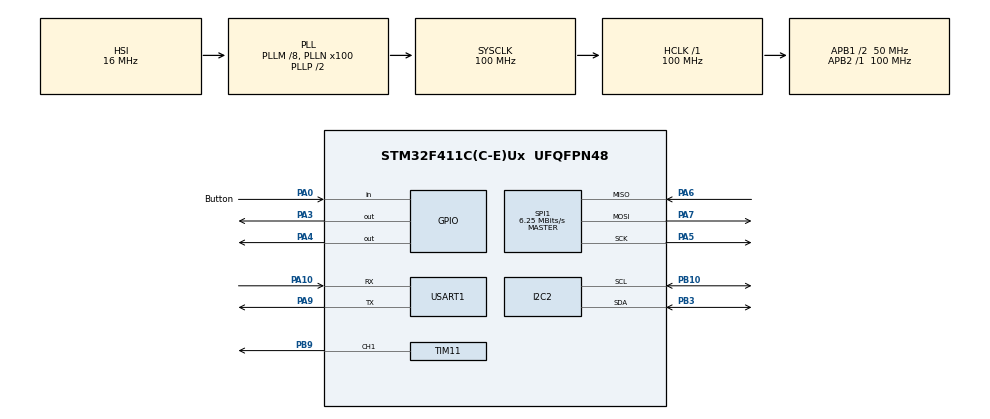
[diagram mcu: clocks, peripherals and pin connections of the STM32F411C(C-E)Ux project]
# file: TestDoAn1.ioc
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Mcu.Family=STM32F4
Mcu.Name=STM32F411C(C-E)Ux
Mcu.Package=UFQFPN48
NVIC.PriorityGroup=NVIC_PRIORITYGROUP_4
NVIC.USART1_IRQn=true\:0\:0\:false\:false\:true\:true\:true\:true
PA0-WKUP.GPIO_Label=Button
PA0-WKUP.GPIO_PuPd=GPIO_PULLUP
PA0-WKUP.Signal=GPIO_Input
PA10.Mode=Asynchronous
PA10.Signal=USART1_RX
PA3.Signal=GPIO_Output
PA4.Signal=GPIO_Output
PA5.Mode=Full_Duplex_Master
PA5.Signal=SPI1_SCK
PA6.Mode=Full_Duplex_Master
PA6.Signal=SPI1_MISO
PA7.Mode=Full_Duplex_Master
PA7.Signal=SPI1_MOSI
PA9.Mode=Asynchronous
PA9.Signal=USART1_TX
PB10.Mode=I2C
PB10.Signal=I2C2_SCL
PB3.Mode=I2C
PB3.Signal=I2C2_SDA
PB9.Signal=S_TIM11_CH1
ProjectManager.HeapSize=0x200
ProjectManager.StackSize=0x400
ProjectManager.TargetToolchain=STM32CubeIDE
RCC.48MHZClocksFreq_Value=50000000
RCC.AHBFreq_Value=100000000
RCC.APB1CLKDivider=RCC_HCLK_DIV2
RCC.APB1Freq_Value=50000000
RCC.APB1TimFreq_Value=100000000
RCC.APB2Freq_Value=100000000
RCC.APB2TimFreq_Value=100000000
RCC.CortexFreq_Value=100000000
RCC.HCLKFreq_Value=100000000
RCC.HSE_VALUE=25000000
RCC.HSI_VALUE=16000000
RCC.LSE_VALUE=32768
RCC.PLLM=8
RCC.PLLN=100
RCC.SYSCLKFreq_VALUE=100000000
RCC.SYSCLKSource=RCC_SYSCLKSOURCE_PLLCLK
RCC.VCOOutputFreq_Value=200000000
SH.S_TIM11_CH1.0=TIM11_CH1,PWM Generation1 CH1
SPI1.BaudRatePrescaler=SPI_BAUDRATEPRESCALER_16
SPI1.CalculateBaudRate=6.25 MBits/s
SPI1.Direction=SPI_DIRECTION_2LINES
SPI1.Mode=SPI_MODE_MASTER
SPI1.VirtualType=VM_MASTER
TIM11.Channel=TIM_CHANNEL_1
TIM11.Period=1000-1
TIM11.Prescaler=2000-1
USART1.VirtualMode=VM_ASYNC
VP_TIM11_VS_ClockSourceINT.Mode=Enable_Timer
board=custom

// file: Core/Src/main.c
/* USER CODE BEGIN Header */
/**
  ******************************************************************************
  * @file           : main.c
  * @brief          : Main program body
  ******************************************************************************
  * @attention
  *
  * Copyright (c) 2024 STMicroelectronics.
  * All rights reserved.
  *
  * This software is licensed under terms that can be found in the LICENSE file
  * in the root directory of this software component.
  * If no LICENSE file comes with this software, it is provided AS-IS.
  *
  ******************************************************************************
  */
/* USER CODE END Header */
#include "main.h"

/* USER CODE BEGIN Includes */
#include "MFRC522.h"
//#include "i2c-lcd.h"
#include "liquidcrystal_i2c.h"
#include "string.h"
/* USER CODE END Includes */

/* USER CODE BEGIN PTD */
uint8_t str[11];
uint8_t status;
uint8_t ChuoiNhan[11];
uint8_t CoNhan;
uint8_t temp[11];
uint8_t a = 0;
uint8_t size = 11;
uint8_t KyTuNhan;
uint8_t rxindex = 0;
uint8_t BienSoXe[11];
uint8_t TinHieuDieuKhien[11];
uint8_t TrangThaiCua = 0;
uint8_t State = 0;
uint8_t ChiSo = 0;
uint8_t temp1[11];
uint8_t ThoiGianCho[1] = "9";
uint8_t BoDem = 0;

//Tin hieu dieu khien
char MoCuaVao[] = "1";
char MoCuaRa[] = "2";
char ChuaDangKyTaiKhoan[] = "3";
char HetTien[] = "4";
char ChuaDangKyRFID[] = "5";
char ThemThanhCong[] = "6";
char LoiMang[] = "7";
char KetNoiWifi[] = "8";

/* USER CODE END PTD */

I2C_HandleTypeDef hi2c2;

SPI_HandleTypeDef hspi1;

TIM_HandleTypeDef htim11;

UART_HandleTypeDef huart1;

void SystemClock_Config(void);
static void MX_GPIO_Init(void);
static void MX_SPI1_Init(void);
static void MX_TIM11_Init(void);
static void MX_USART1_UART_Init(void);
static void MX_I2C2_Init(void);

/* USER CODE BEGIN 0 */
void HAL_UART_RxCpltCallback(UART_HandleTypeDef *huart)
{
  /* Prevent unused argument(s) compilation warning */
  UNUSED(huart);
  /* NOTE: This function should not be modified, when the callback is needed,
           the HAL_UART_RxCpltCallback could be implemented in the user file
   */
  /*if (huart->Instance == huart1.Instance)
  {
	  if (State == 0)
	  {
		  if (KyTuNhan == 'A')
			  State = 1;
	  }
	  else if (State == 1)
	  {
		  if (KyTuNhan == 'A')
			  State = 2;
		  else
			  State = 0;
	  }
	  else if (State == 3)
	  {
		  size = KyTuNhan;
		  State = 3;
	  }
	  else if (State == 3)
	  {
		  if (size > 1)
		  {
		  	  ChuoiNhan[rxindex] = KyTuNhan;
		  	  rxindex++;
		  	  size--;
		  }
		  else
		  {
		  	  ChuoiNhan[rxindex] = KyTuNhan;
		  	  rxindex = 0;
		  	  CoNhan = 0;
		  	  State = 0;
		  	  memcpy(temp, ChuoiNhan, sizeof(temp));
		  }
	  }
	  temp1[ChiSo] = KyTuNhan;
	  ChiSo++;
	  if (ChiSo == 10)
		  ChiSo = 0;
	  HAL_UART_Receive_IT(&huart1, &KyTuNhan, 1);
  }*/
  if (huart->Instance == huart1.Instance)
    {
  	  	  	  if (size > 1)
  	  	  	  {
  	  	  		  ChuoiNhan[rxindex] = KyTuNhan;
  	  	  		  rxindex++;
  	  	  		  size--;
    	  	  	  }
  	  	  	  else
  	  	  	  {
  	  	  		ChuoiNhan[rxindex] = KyTuNhan;
  	  	  		rxindex = 0;
  	  	  		CoNhan = 0;
  	  	  		size = 11;
  	  	  		memcpy(temp, ChuoiNhan, sizeof(temp));
  	  	  		//memcpy(ChuoiNhan, "\0", 11);
  	  	  	  }
  	  	HAL_UART_Receive_IT(&huart1, &KyTuNhan, 1);
    }
}
/* USER CODE END 0 */

int main(void)
{

  /* MCU Configuration--------------------------------------------------------*/

  /* Reset of all peripherals, Initializes the Flash interface and the Systick. */
  HAL_Init();

  /* Configure the system clock */
  SystemClock_Config();

  /* Initialize all configured peripherals */
  MX_GPIO_Init();
  MX_SPI1_Init();
  MX_TIM11_Init();
  MX_USART1_UART_Init();
  MX_I2C2_Init();
  /* USER CODE BEGIN 2 */
  HAL_GPIO_WritePin(RC522_Rst_GPIO_Port, RC522_Rst_Pin, GPIO_PIN_SET);
  MFRC522_Init();
  HAL_UART_Receive_IT(&huart1, &KyTuNhan, 1);
  HAL_I2C_Init(&hi2c2);
  HAL_TIM_PWM_Start(&htim11, TIM_CHANNEL_1);
  htim11.Instance->CCR1 = 100;
  //lcd_init();
  HD44780_Init(2);
  HD44780_Clear();
  HD44780_SetCursor(0, 0);
  HD44780_PrintStr("Dang ket noi...");
  HAL_Delay(10000);
  HD44780_Clear();
  HD44780_SetCursor(0, 0);
  HD44780_PrintStr("Cho the");
  /* USER CODE END 2 */

  /* Infinite loop */
  /* USER CODE BEGIN WHILE */
  while (1)
  {
	  if (!MFRC522_Request(PICC_REQIDL, str))
	  	  	  {
	  	  		  if (!MFRC522_Anticoll(str))
	  	  		  {
	  	  			//Gui Ma The qua UART
	  	  			HAL_UART_Transmit(&huart1, str, 5, 100);
	  	  			//Nhan Tin hieu dieu khien tu ESP32
	  	  			CoNhan = 1;
	  	  			while (CoNhan);
	  	  			memcpy(TinHieuDieuKhien, temp, 11);
	  	  			//Thuc hien hanh dong
	  	  			//Thuc hien ra vao
	  	  			if ((strcmp((char*)TinHieuDieuKhien, MoCuaVao) == 0) || (strcmp((char*)TinHieuDieuKhien, MoCuaRa) == 0))
	  	  			  	{
	  	  			  		//Nhan Bien so xe tu ESP32
	  	  					CoNhan = 1;
	  	  			  		while (CoNhan);
	  	  			  		memcpy(BienSoXe, temp, 11);
	  	  			  		//Thuc hien vao
	  	  			  		if (strcmp((char*)TinHieuDieuKhien, MoCuaVao) == 0)
	  	  			  		{
	  	  			  			//In ra man hinh
	  	  			  			HD44780_Clear();
	  	  			  			HD44780_PrintStr((char*) BienSoXe);
	  	  			  			HD44780_SetCursor(0, 1);
	  	  			  			HD44780_PrintStr("Chao mung!");
	  	  			  			//Mo Cua
	  	  			  			htim11.Instance->CCR1 = 50;

	  	  			  			HAL_Delay(5000);
	  	  			  			HD44780_Clear();
	  	  			  			HD44780_PrintStr("Cho the");
	  	  			  			//Dong Cua
	  	  			  			htim11.Instance->CCR1 = 100;
	  	  			  		}
	  	  			  		//Thuc hien ra
	  	  			  		else if (strcmp((char*)TinHieuDieuKhien, MoCuaRa) == 0)
	  	  			  		{
	  	  			  			//In ra man hinh
	  	  			  			HD44780_Clear();
	  	  			  			HD44780_PrintStr((char*) BienSoXe);
	  	  			  			HD44780_SetCursor(0, 1);
	  	  			  			HD44780_PrintStr("Tam biet!");
	  	  			  			//Mo Cua
	  	  			  			htim11.Instance->CCR1 = 50;

	  	  			  			HAL_Delay(5000);
	  	  			  			HD44780_Clear();
	  	  			  			HD44780_PrintStr("Cho the");
	  	  			  			//Dong Cua
	  	  			  			htim11.Instance->CCR1 = 100;
	  	  			  		}
	  	  			  	}
	  	  				//Thuc hien khi het tien
	  	  			  	else if (strcmp((char*)TinHieuDieuKhien, HetTien) == 0)
	  	  			  	{
	  	  			  		HD44780_Clear();
	  	  			  		HD44780_PrintStr("So du khong du");
	  	  			  		HD44780_SetCursor(0, 1);
	  	  			  		HD44780_PrintStr("Vui long dua tien mat!");
	  	  			  		HAL_Delay(1000);
	  	  			  		HD44780_Clear();
	  	  			  		HD44780_PrintStr("Thoi gian cho: ");
	  	  			  		HD44780_PrintStr((char*)ThoiGianCho);

	  	  			  		while (ThoiGianCho[0] > '0' && HAL_GPIO_ReadPin(Button_GPIO_Port, Button_Pin))
	  	  			  		{
	  	  			  			BoDem++;
	  	  			  			if (BoDem == 100)
	  	  			  			{
	  	  			  				ThoiGianCho[0]--;
	  	  			  				BoDem = 0;
	  	  			  				HD44780_Clear();
	  	  			  				HD44780_PrintStr("Thoi gian cho: ");
	  	  			  				HD44780_PrintStr((char*)ThoiGianCho);
	  	  			  			}
	  	  			  			HAL_Delay(10);
	  	  			  		}
	  	  			  		if (ThoiGianCho[0] > '0')
	  	  			  		{
	  	  			  			HAL_UART_Transmit(&huart1, (uint8_t*)"1", 1, 100);
	  	  			  			CoNhan = 1;
	  	  			  			while (CoNhan);
	  	  			  			memcpy(BienSoXe, temp, 11);
	  	  			  			HD44780_Clear();
	  	  			  			HD44780_PrintStr((char*) BienSoXe);
	  	  			  			HD44780_SetCursor(0, 1);
	  	  			  			HD44780_PrintStr("Chao mung!");
	  	  			  			//Mo Cua
	  	  			  			htim11.Instance->CCR1 = 50;

	  	  			  			HAL_Delay(5000);
	  	  			  			HD44780_Clear();
	  	  			  			HD44780_PrintStr("Cho the");
	  	  			  			//Dong Cua
	  	  			  			htim11.Instance->CCR1 = 100;
	  	  			  		}
	  	  			  		else
	  	  			  		{
	  	  			  			HAL_UART_Transmit(&huart1, (uint8_t*)"0", 1, 100);
	  	  			  			HAL_Delay(1000);
	  	  			  			HD44780_Clear();
	  	  			  			HD44780_PrintStr("Cho the");
	  	  			  		}
	  	  			  		BoDem = 0;
	  	  			  		ThoiGianCho[0] = '9';
	  	  			  	}
	  	  				//Thuc hien khi chua dang ky
	  	  			  	else if (strcmp((char*)TinHieuDieuKhien, ChuaDangKyRFID) == 0)
	  	  			  	{
	  	  			  		HD44780_Clear();
	  	  			  		HD44780_PrintStr((char*) "Chua dang ky the");
	  	  			  		HAL_Delay(3000);
	  	  			  		HD44780_Clear();
	  	  			  		HD44780_PrintStr("Cho the");
	  	  			  	}
	  	  				//Thuc hien khi them the thanh cong
	  	  			  	else if (strcmp((char*)TinHieuDieuKhien, ThemThanhCong) == 0)
	  	  			  	{
	  	  			  		HD44780_Clear();
	  	  			  		HD44780_PrintStr((char*) "Them thanh cong");
	  	  			  		HAL_Delay(3000);
	  	  			  		HD44780_Clear();
	  	  			  		HD44780_PrintStr("Cho the");
	  	  			  	}
	  	  				//THuc hien khi bi loi mang
	  	  			  	else if (strcmp((char*)TinHieuDieuKhien, LoiMang) == 0)
	  	  			  	{
	  	  			  		HD44780_Clear();
	  	  			  		HD44780_PrintStr((char*) "Loi mang!Thu lai");
	  	  			  		HAL_Delay(3000);
	  	  			  		HD44780_Clear();
	  	  			  		HD44780_PrintStr("Cho the");
	  	  			  	}
	  	  			  	else if (strcmp((char*)TinHieuDieuKhien, ChuaDangKyTaiKhoan) == 0)
	  	  			  	{
	  	  			  		HD44780_Clear();
	  	  			  		HD44780_PrintStr((char*) "Chua dang ky TK");
		  	  			  	HAL_Delay(3000);
	  	  			  		HD44780_Clear();
		  	  			  	HD44780_PrintStr("Cho the");
	  	  			  	}
	  	  			//CoNhan = 1;
	  	  			//while (CoNhan);
	  	  			//memcpy(BienSoXe, temp, 10);

	  	  			//lcd_send_string((char*)Test);
	  	  			//lcd_goto_XY(0, 1);
	  	  			//lcd_send_string("Chao mung");
	  	  			//lcd_clear_display();
	  	  		  }
	  	  	  }
    /* USER CODE END WHILE */

    /* USER CODE BEGIN 3 */
	  //Dieu khien bang nut bam
	  	if (!HAL_GPIO_ReadPin(Button_GPIO_Port, Button_Pin))
	  	{
	  		//Mo cua, dong cua
	  		if (TrangThaiCua == 0)
	  		{
	  			//Mo Cua
	  			htim11.Instance->CCR1 = 100;
	  			TrangThaiCua = 1;
	  		}
	  		else if (TrangThaiCua == 1)
	  		{
	  			//Dong Cua
	  			htim11.Instance->CCR1 = 50;
	  			TrangThaiCua = 0;
	  		}
	  		HAL_Delay(500);
	  	}
  }
  /* USER CODE END 3 */
}

void SystemClock_Config(void)
{
  RCC_OscInitTypeDef RCC_OscInitStruct = {0};
  RCC_ClkInitTypeDef RCC_ClkInitStruct = {0};

  /** Configure the main internal regulator output voltage
  */
  __HAL_RCC_PWR_CLK_ENABLE();
  __HAL_PWR_VOLTAGESCALING_CONFIG(PWR_REGULATOR_VOLTAGE_SCALE1);

  /** Initializes the RCC Oscillators according to the specified parameters
  * in the RCC_OscInitTypeDef structure.
  */
  RCC_OscInitStruct.OscillatorType = RCC_OSCILLATORTYPE_HSI;
  RCC_OscInitStruct.HSIState = RCC_HSI_ON;
  RCC_OscInitStruct.HSICalibrationValue = RCC_HSICALIBRATION_DEFAULT;
  RCC_OscInitStruct.PLL.PLLState = RCC_PLL_ON;
  RCC_OscInitStruct.PLL.PLLSource = RCC_PLLSOURCE_HSI;
  RCC_OscInitStruct.PLL.PLLM = 8;
  RCC_OscInitStruct.PLL.PLLN = 100;
  RCC_OscInitStruct.PLL.PLLP = RCC_PLLP_DIV2;
  RCC_OscInitStruct.PLL.PLLQ = 4;
  if (HAL_RCC_OscConfig(&RCC_OscInitStruct) != HAL_OK)
  {
    Error_Handler();
  }

  /** Initializes the CPU, AHB and APB buses clocks
  */
  RCC_ClkInitStruct.ClockType = RCC_CLOCKTYPE_HCLK|RCC_CLOCKTYPE_SYSCLK
                              |RCC_CLOCKTYPE_PCLK1|RCC_CLOCKTYPE_PCLK2;
  RCC_ClkInitStruct.SYSCLKSource = RCC_SYSCLKSOURCE_PLLCLK;
  RCC_ClkInitStruct.AHBCLKDivider = RCC_SYSCLK_DIV1;
  RCC_ClkInitStruct.APB1CLKDivider = RCC_HCLK_DIV2;
  RCC_ClkInitStruct.APB2CLKDivider = RCC_HCLK_DIV1;

  if (HAL_RCC_ClockConfig(&RCC_ClkInitStruct, FLASH_LATENCY_3) != HAL_OK)
  {
    Error_Handler();
  }
}

static void MX_I2C2_Init(void)
{

  hi2c2.Instance = I2C2;
  hi2c2.Init.ClockSpeed = 100000;
  hi2c2.Init.DutyCycle = I2C_DUTYCYCLE_2;
  hi2c2.Init.OwnAddress1 = 0;
  hi2c2.Init.AddressingMode = I2C_ADDRESSINGMODE_7BIT;
  hi2c2.Init.DualAddressMode = I2C_DUALADDRESS_DISABLE;
  hi2c2.Init.OwnAddress2 = 0;
  hi2c2.Init.GeneralCallMode = I2C_GENERALCALL_DISABLE;
  hi2c2.Init.NoStretchMode = I2C_NOSTRETCH_DISABLE;
  if (HAL_I2C_Init(&hi2c2) != HAL_OK)
  {
    Error_Handler();
  }

}

static void MX_SPI1_Init(void)
{

  /* SPI1 parameter configuration*/
  hspi1.Instance = SPI1;
  hspi1.Init.Mode = SPI_MODE_MASTER;
  hspi1.Init.Direction = SPI_DIRECTION_2LINES;
  hspi1.Init.DataSize = SPI_DATASIZE_8BIT;
  hspi1.Init.CLKPolarity = SPI_POLARITY_LOW;
  hspi1.Init.CLKPhase = SPI_PHASE_1EDGE;
  hspi1.Init.NSS = SPI_NSS_SOFT;
  hspi1.Init.BaudRatePrescaler = SPI_BAUDRATEPRESCALER_16;
  hspi1.Init.FirstBit = SPI_FIRSTBIT_MSB;
  hspi1.Init.TIMode = SPI_TIMODE_DISABLE;
  hspi1.Init.CRCCalculation = SPI_CRCCALCULATION_DISABLE;
  hspi1.Init.CRCPolynomial = 10;
  if (HAL_SPI_Init(&hspi1) != HAL_OK)
  {
    Error_Handler();
  }

}

static void MX_TIM11_Init(void)
{

  TIM_OC_InitTypeDef sConfigOC = {0};

  htim11.Instance = TIM11;
  htim11.Init.Prescaler = 2000-1;
  htim11.Init.CounterMode = TIM_COUNTERMODE_UP;
  htim11.Init.Period = 1000-1;
  htim11.Init.ClockDivision = TIM_CLOCKDIVISION_DIV1;
  htim11.Init.AutoReloadPreload = TIM_AUTORELOAD_PRELOAD_DISABLE;
  if (HAL_TIM_Base_Init(&htim11) != HAL_OK)
  {
    Error_Handler();
  }
  if (HAL_TIM_PWM_Init(&htim11) != HAL_OK)
  {
    Error_Handler();
  }
  sConfigOC.OCMode = TIM_OCMODE_PWM1;
  sConfigOC.Pulse = 0;
  sConfigOC.OCPolarity = TIM_OCPOLARITY_HIGH;
  sConfigOC.OCFastMode = TIM_OCFAST_DISABLE;
  if (HAL_TIM_PWM_ConfigChannel(&htim11, &sConfigOC, TIM_CHANNEL_1) != HAL_OK)
  {
    Error_Handler();
  }
  HAL_TIM_MspPostInit(&htim11);

}

static void MX_USART1_UART_Init(void)
{

  huart1.Instance = USART1;
  huart1.Init.BaudRate = 115200;
  huart1.Init.WordLength = UART_WORDLENGTH_8B;
  huart1.Init.StopBits = UART_STOPBITS_1;
  huart1.Init.Parity = UART_PARITY_NONE;
  huart1.Init.Mode = UART_MODE_TX_RX;
  huart1.Init.HwFlowCtl = UART_HWCONTROL_NONE;
  huart1.Init.OverSampling = UART_OVERSAMPLING_16;
  if (HAL_UART_Init(&huart1) != HAL_OK)
  {
    Error_Handler();
  }

}

static void MX_GPIO_Init(void)
{
  GPIO_InitTypeDef GPIO_InitStruct = {0};

  /* GPIO Ports Clock Enable */
  __HAL_RCC_GPIOA_CLK_ENABLE();
  __HAL_RCC_GPIOB_CLK_ENABLE();

  /*Configure GPIO pin Output Level */
  HAL_GPIO_WritePin(GPIOA, GPIO_PIN_3|GPIO_PIN_4, GPIO_PIN_RESET);

  /*Configure GPIO pin : Button_Pin */
  GPIO_InitStruct.Pin = Button_Pin;
  GPIO_InitStruct.Mode = GPIO_MODE_INPUT;
  GPIO_InitStruct.Pull = GPIO_PULLUP;
  HAL_GPIO_Init(Button_GPIO_Port, &GPIO_InitStruct);

  /*Configure GPIO pins : PA3 PA4 */
  GPIO_InitStruct.Pin = GPIO_PIN_3|GPIO_PIN_4;
  GPIO_InitStruct.Mode = GPIO_MODE_OUTPUT_PP;
  GPIO_InitStruct.Pull = GPIO_NOPULL;
  GPIO_InitStruct.Speed = GPIO_SPEED_FREQ_LOW;
  HAL_GPIO_Init(GPIOA, &GPIO_InitStruct);

}

void Error_Handler(void)
{
  __disable_irq();
  while (1)
  {
  }
}
